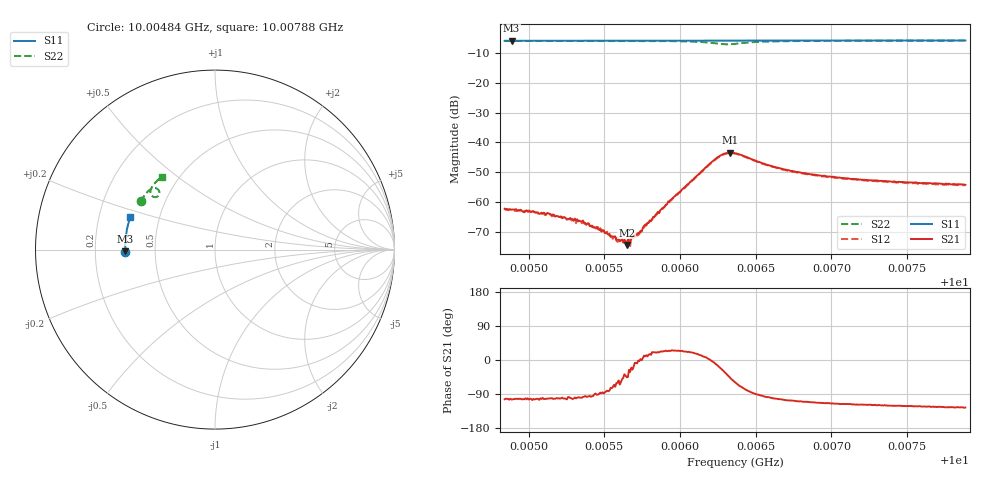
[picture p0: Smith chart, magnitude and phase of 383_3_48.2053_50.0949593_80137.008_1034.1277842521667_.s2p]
#  HZ  S  RI  R  50.00
! Rohde & Schwarz Vector Network Analyzer
! Rohde-Schwarz,ZNB20-2Port,1311601062101988,3.16
! Created: UTC 3/20/2024, 11:53:12 AM
! freq[Hz]  re:S11  im:S11  re:S21  im:S21  re:S12  im:S12  re:S22  im:S22
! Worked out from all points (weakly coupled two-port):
!   401 points, 10.00484 GHz to 10.00788 GHz, reference 50 ohm
!   highest |S21| = -43.40 dB at 10.00633 GHz (marker M1); lowest = -74.2 dB at 10.00565 GHz (marker M2)
!   lowest |S11| = -6.0 dB at 10.00489 GHz (marker M3), VSWR 2.99, Z = 16.7 - j0.429 ohm
!   |S11| at or under -10 dB: nowhere
!   |S22| runs from -7.2 to -6.0 dB; largest |S21 - S12| = 0.00043
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1.0004842e10  -0.4992 -0.0126  -0.000182 -0.000759  -0.000155 -0.000762  -0.4149 0.2683
1.0004887e10  -0.4992 -0.00963  -0.000188 -0.00073  -0.000139 -0.000729  -0.4132 0.2711
1.0005017e10  -0.4996 -0.00113  -0.000151 -0.000669  -0.000129 -0.000676  -0.4087 0.2785
1.0005138e10  -0.4998 0.00686  -0.000126 -0.000629  -0.000109 -0.000608  -0.4041 0.2859
1.0005351e10  -0.4999 0.0207  -8.01e-05 -0.000472  -2.64e-05 -0.00045  -0.3955 0.2985
1.0005511e10  -0.4997 0.031  3.88e-05 -0.000313  5.54e-05 -0.000299  -0.3883 0.3081
1.0005595e10  -0.4995 0.0364  0.000142 -0.000197  0.000112 -0.000202  -0.3843 0.3133
1.0005648e10  -0.4993 0.04  0.000136 -0.000138  0.00017 -0.000113  -0.3813 0.3165
1.0005656e10  -0.4992 0.0403  0.000168 -0.000169  0.000179 -0.000119  -0.381 0.3171
1.0005686e10  -0.4991 0.0424  0.000233 -0.00011  0.000259 -5.77e-05  -0.3793 0.3189
1.0005694e10  -0.4992 0.0427  0.000264 -8.57e-05  0.000267 -5.34e-05  -0.3788 0.3194
1.0005732e10  -0.4989 0.0454  0.000299 -1.53e-05  0.000317 -1.48e-06  -0.3766 0.3216
1.000577e10  -0.4988 0.0478  0.000415 7.08e-05  0.000398 9.3e-05  -0.3742 0.3242
1.0005861e10  -0.4985 0.0536  0.000622 0.000226  0.000607 0.00029  -0.3678 0.33
1.0006226e10  -0.4957 0.0771  0.00509 -0.000645  0.00499 -0.000401  -0.3129 0.3294
1.000628e10  -0.495 0.0804  0.00566 -0.00278  0.00566 -0.00244  -0.3101 0.3107
1.0006333e10  -0.4946 0.0835  0.00457 -0.00498  0.00474 -0.00466  -0.3229 0.2946
1.0006363e10  -0.4945 0.0852  0.00344 -0.00564  0.00366 -0.00541  -0.3338 0.2921
1.000663e10  -0.4923 0.1024  -0.000802 -0.00378  -0.000606 -0.00379  -0.3585 0.332
1.0006873e10  -0.4893 0.1179  -0.00108 -0.00272  -0.000945 -0.00274  -0.3479 0.354
1.0007383e10  -0.4817 0.1498  -0.00114 -0.00193  -0.00101 -0.00192  -0.3225 0.3837
1.0007885e10  -0.4719 0.1806  -0.00114 -0.0016  -0.00103 -0.00162  -0.2968 0.4068
